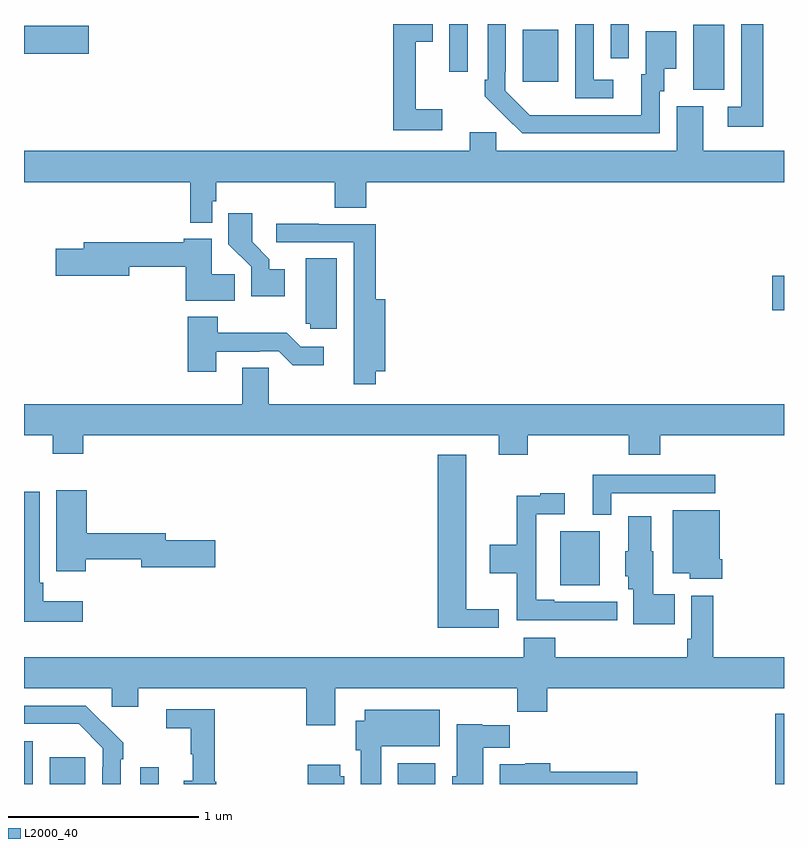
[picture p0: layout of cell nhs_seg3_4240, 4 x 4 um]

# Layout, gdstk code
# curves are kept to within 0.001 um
import gdstk
lib = gdstk.Library(unit=1e-6, precision=1e-09)
def R(c, l, rs):  # rectangles x0, y0, x1, y1
    for r in rs: c.add(gdstk.rectangle(r[:2], r[2:], *l))
def P(c, l, *ps):  # polygons
    for p in ps: c.add(gdstk.Polygon(p, *l))
L2000_40 = (2000, 40)

nhs_seg3_4240 = lib.new_cell('nhs_seg3_4240')
R(nhs_seg3_4240, L2000_40, [(335,712.4,335.046,712.626), (335.135,712.4,335.323,712.54), (335.613,712.4,335.709,712.489), (336.968,712.4,337.165,712.51), (338.954,712.4,339,712.771), (337.823,713.447,338.029,713.731), (338.937,714.893,339,715.076), (338.522,716.053,338.686,716.396), (337.625,716.097,337.813,716.371), (337.239,716.148,337.335,716.4), (338.088,716.22,338.184,716.4), (335,716.243,335.341,716.39)])
P(nhs_seg3_4240, L2000_40, [(337.201,715.951),(337.061,715.951),(337.061,716.306),(337.15,716.306),(337.15,716.4),(336.943,716.4),(336.943,715.842),(337.201,715.842)],
  [(338.891,716.4),(338.775,716.4),(338.775,715.965),(338.703,715.965),(338.703,715.86),(338.891,715.86)],
  [(338.346,716.046),(338.371,716.046),(338.371,716.165),(338.434,716.165),(338.434,716.362),(338.273,716.362),(338.273,716.136),(338.249,716.136),(338.249,715.92),(337.662,715.921),(337.533,716.049),(337.533,716.149),(337.536,716.149),(337.536,716.4),(337.44,716.4),(337.44,716.107),(337.425,716.107),(337.425,716.019),(337.622,715.824),(338.346,715.824)],
  [(338.101,716.106),(337.998,716.106),(337.998,716.4),(337.902,716.4),(337.902,716.01),(338.101,716.01)],
  [(335.991,715.467),(336.011,715.467),(336.011,715.568),(336.635,715.568),(336.635,715.432),(336.8,715.432),(336.8,715.568),(339,715.568),(339,715.732),(338.575,715.732),(338.575,715.968),(338.435,715.968),(338.435,715.732),(337.485,715.732),(337.485,715.83),(337.346,715.83),(337.346,715.732),(335,715.732),(335,715.568),(335.875,715.568),(335.875,715.355),(335.991,715.355)],
  [(336.373,715.108),(336.292,715.108),(336.292,715.163),(336.202,715.253),(336.202,715.405),(336.076,715.405),(336.076,715.242),(336.195,715.123),(336.195,714.968),(336.373,714.968)],
  [(336.851,714.572),(336.902,714.572),(336.902,714.952),(336.851,714.952),(336.851,715.347),(336.551,715.347),(336.551,715.35),(336.327,715.35),(336.327,715.251),(336.735,715.251),(336.735,714.504),(336.851,714.504)],
  [(336.11,715.082),(335.989,715.082),(335.989,715.27),(335.84,715.27),(335.84,715.252),(335.315,715.252),(335.315,715.218),(335.166,715.218),(335.166,715.076),(335.554,715.076),(335.554,715.123),(335.852,715.123),(335.852,714.944),(336.11,714.944)],
  [(336.646,715.166),(336.482,715.166),(336.482,714.822),(336.507,714.822),(336.507,714.795),(336.646,714.795)],
  [(336.013,714.675),(336.242,714.675),(336.242,714.678),(336.342,714.678),(336.415,714.605),(336.577,714.605),(336.577,714.702),(336.456,714.702),(336.383,714.775),(336.021,714.775),(336.021,714.859),(335.861,714.859),(335.861,714.57),(336.013,714.57)],
  [(337.652,714.236),(338.183,714.236),(338.183,714.134),(338.348,714.134),(338.348,714.236),(339,714.236),(339,714.4),(336.288,714.4),(336.288,714.59),(336.149,714.59),(336.149,714.4),(335,714.4),(335,714.236),(335.152,714.236),(335.152,714.137),(335.312,714.137),(335.312,714.236),(337.499,714.236),(337.499,714.134),(337.652,714.134)],
  [(337.498,713.321),(337.327,713.321),(337.327,714.133),(337.178,714.133),(337.178,713.222),(337.498,713.222)],
  [(338.091,713.931),(338.638,713.931),(338.638,714.027),(337.994,714.027),(337.994,713.816),(338.091,713.816)],
  [(335.325,713.584),(335.618,713.584),(335.618,713.542),(336.007,713.542),(336.007,713.684),(335.746,713.684),(335.746,713.72),(335.33,713.72),(335.33,713.947),(335.171,713.947),(335.171,713.52),(335.325,713.52)],
  [(335.308,713.362),(335.102,713.362),(335.102,713.458),(335.082,713.458),(335.082,713.938),(335,713.938),(335,713.255),(335.308,713.255)],
  [(338.122,713.358),(337.792,713.358),(337.792,713.371),(337.695,713.371),(337.695,713.82),(337.846,713.82),(337.846,713.929),(337.718,713.929),(337.718,713.918),(337.594,713.918),(337.594,713.658),(337.452,713.658),(337.452,713.51),(337.594,713.51),(337.594,713.262),(337.879,713.262),(337.879,713.261),(338.122,713.261)],
  [(338.675,713.584),(338.662,713.584),(338.662,713.842),(338.414,713.842),(338.414,713.51),(338.504,713.51),(338.504,713.48),(338.675,713.48)],
  [(338.426,713.398),(338.311,713.398),(338.311,713.625),(338.302,713.625),(338.302,713.809),(338.18,713.809),(338.18,713.625),(338.165,713.625),(338.165,713.493),(338.18,713.493),(338.18,713.424),(338.207,713.424),(338.207,713.24),(338.426,713.24)],
  [(336.637,712.904),(337.597,712.904),(337.597,712.78),(337.754,712.78),(337.754,712.904),(339,712.904),(339,713.068),(338.627,713.068),(338.627,713.392),(338.511,713.392),(338.511,713.164),(338.491,713.164),(338.491,713.068),(337.796,713.068),(337.796,713.17),(337.631,713.17),(337.631,713.068),(335,713.068),(335,712.904),(335.463,712.904),(335.463,712.806),(335.602,712.806),(335.602,712.904),(336.485,712.904),(336.485,712.71),(336.637,712.71)],
  [(335.508,712.529),(335.523,712.529),(335.523,712.617),(335.326,712.812),(335,712.812),(335,712.716),(335.287,712.716),(335.415,712.587),(335.415,712.487),(335.412,712.487),(335.412,712.4),(335.508,712.4)],
  [(336.011,712.413),(336.005,712.413),(336.005,712.794),(335.748,712.794),(335.748,712.693),(335.877,712.693),(335.877,712.557),(335.888,712.557),(335.888,712.417),(335.84,712.417),(335.84,712.4),(336.011,712.4)],
  [(336.88,712.598),(337.189,712.598),(337.189,712.792),(336.794,712.792),(336.794,712.732),(336.746,712.732),(336.746,712.578),(336.773,712.578),(336.773,712.4),(336.88,712.4)],
  [(337.417,712.592),(337.556,712.592),(337.556,712.71),(337.413,712.71),(337.413,712.714),(337.277,712.714),(337.277,712.44),(337.253,712.44),(337.253,712.4),(337.417,712.4)],
  [(338.227,712.464),(337.769,712.464),(337.769,712.51),(337.638,712.51),(337.638,712.504),(337.505,712.504),(337.505,712.4),(338.227,712.4)],
  [(336.685,712.44),(336.664,712.44),(336.664,712.501),(336.494,712.501),(336.494,712.4),(336.685,712.4)])

lib.write_gds('nhs_seg3_4240.gds')
